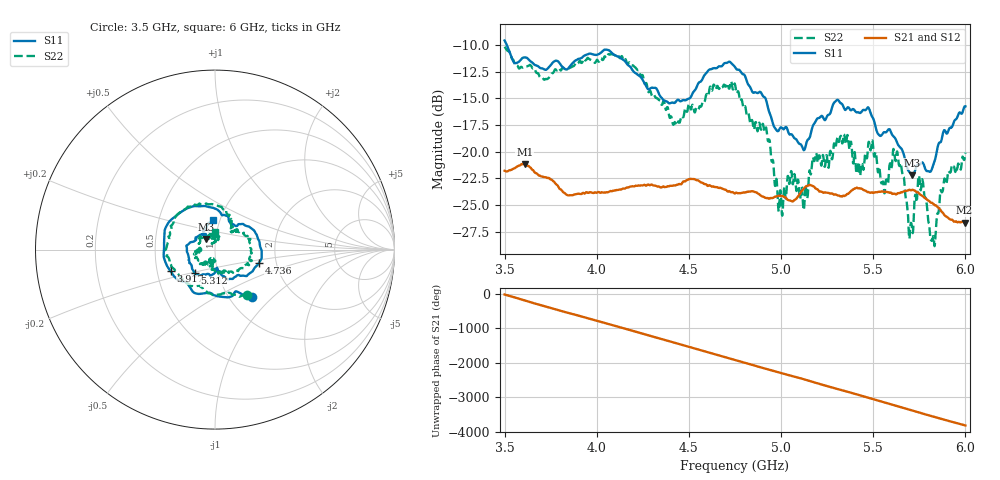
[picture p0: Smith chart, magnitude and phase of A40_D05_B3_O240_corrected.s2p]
! Created with skrf 1.9.0 (http://scikit-rf.org).
# Hz S RI R 50.0
!freq ReS11 ImS11 ReS21 ImS21 ReS12 ImS12 ReS22 ImS22
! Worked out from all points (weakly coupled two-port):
!   1601 points, 3.5 GHz to 6 GHz, reference 50 ohm
!   highest |S21| = -21.15 dB at 3.609 GHz (marker M1); lowest = -26.7 dB at 5.995 GHz (marker M2)
!   lowest |S11| = -22.2 dB at 5.713 GHz (marker M3), VSWR 1.17, Z = 45 + j5.39 ohm
!   |S11| at or under -10 dB: 3.512 GHz to end of sweep
!   |S22| runs from -28.9 to -10.2 dB; largest |S21 - S12| = 0.0012
!   S11 on the Smith chart (normalised r, x): 3.5 GHz: 1.27, -0.75; 3.917 GHz: 0.59, -0.15; 4.736 GHz: 1.63, -0.25; 5.312 GHz: 0.77, -0.21; 6 GHz: 0.93, +0.31
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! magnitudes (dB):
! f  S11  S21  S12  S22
! 3.5 GHz  -9.6  -21.8  -21.7  -10.2
! 3.609 GHz  -11.2  -21.1  -21.1  -12.0
! 3.917 GHz  -11.2  -24.0  -23.9  -11.7
! 4.127 GHz  -11.2  -23.5  -23.5  -11.2
! 4.334 GHz  -14.5  -23.3  -23.2  -15.1
! 4.427 GHz  -15.4  -23.2  -23.1  -17.3
! 4.736 GHz  -11.8  -23.8  -23.8  -14.0
! 4.75 GHz  -12.1  -23.9  -23.8  -13.7
! 4.912 GHz  -14.9  -24.3  -24.2  -18.0
! 4.997 GHz  -17.7  -24.1  -24.1  -23.7
! 5.047 GHz  -18.4  -24.6  -24.5  -22.9
! 5.131 GHz  -19.6  -23.3  -23.3  -23.3
! 5.167 GHz  -17.9  -23.2  -23.1  -21.3
! 5.312 GHz  -15.2  -24.1  -24.0  -19.1
! 5.584 GHz  -17.9  -23.8  -23.7  -22.1
! 5.639 GHz  -19.5  -23.9  -23.8  -21.2
! 5.713 GHz  -22.2  -23.6  -23.5  -27.5
! 5.758 GHz  -21.1  -24.1  -24.0  -23.6
! 5.825 GHz  -21.3  -24.9  -24.8  -27.9
! 5.877 GHz  -18.4  -25.7  -25.6  -23.7
! 5.995 GHz  -15.8  -26.7  -26.5  -20.7
! 6 GHz  -15.7  -26.6  -26.5  -20.1
